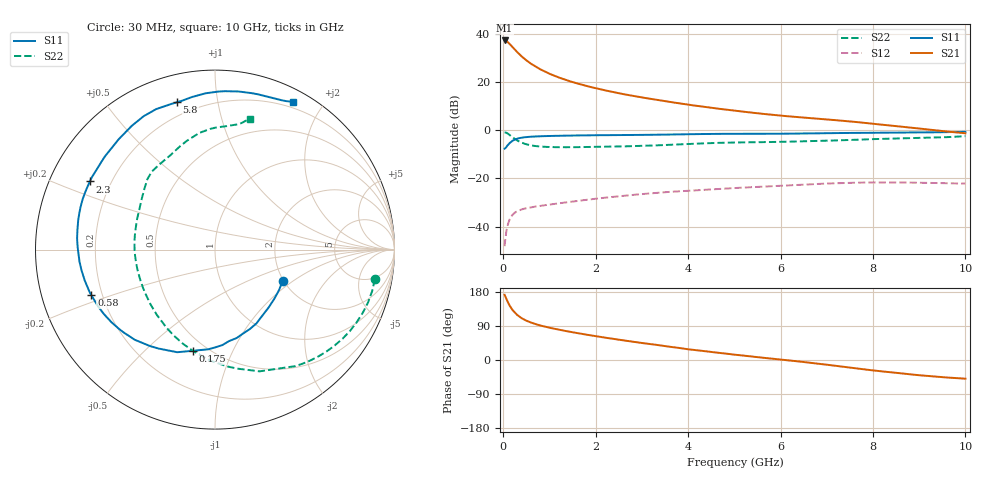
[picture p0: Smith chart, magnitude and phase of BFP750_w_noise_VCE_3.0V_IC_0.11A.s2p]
! Infineon Technologies  Discrete & RF Semiconductors
! BFP750
! VCE =  3.0 V,  IC = 0.11 A
! Common Emitter S-Parameters:  Jan 2016
# GHz  S  MA  R  50
!  f  S11  S21  S12  S22
! GHz  MAG  ANG  MAG  ANG  MAG  ANG  MAG  ANG
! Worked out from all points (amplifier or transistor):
!   229 points, 30 MHz to 10 GHz, reference 50 ohm
!   highest |S21| = 37.4 dB at 30 MHz (marker M1)
!   |S21| within 3 dB of that: start of sweep to 213.8 MHz
!   unconditionally stable (mu >= 1): 2.971 GHz to end of sweep
!   at 280 MHz: K = 0.24, MSG = 33.5 dB, |S12| = -33.9 dB
!   at 1.78 GHz: K = 0.82, MSG = 23.8 dB, |S12| = -29.0 dB
!   at 10 GHz: K = 1.04, MAG = 9.2 dB, |S12| = -22.2 dB
!   lowest NFmin = 1.68 dB at 450 MHz
!   S11 on the Smith chart (normalised r, x): 30 MHz: 1.97, -0.84; 175 MHz: 0.42, -0.71; 580 MHz: 0.16, -0.17; 2.3 GHz: 0.12, +0.25; 5.8 GHz: 0.13, +0.77; 10 GHz: 0.13, +1.65
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0.03  0.4156 -25.1  73.94 171.9  0.0039 77.1  0.9057 -10.5
0.05  0.4299 -40.2  73.36 165.6  0.0059 72.3  0.902 -19.1
0.07  0.4534 -54.7  71.53 160.1  0.0082 69.4  0.8872 -27.2
0.1  0.493 -71.5  68.03 152.5  0.011 63.9  0.8544 -38.7
0.145  0.5503 -91.9  61.79 142.3  0.0144 56.2  0.7941 -54.0
0.175  0.5772 -102.4  57.44 136.9  0.016 52.1  0.749 -62.4
0.2  0.6093 -110.2  54.1 132.1  0.0174 49.0  0.7222 -69.9
0.26  0.6481 -124.0  46.88 123.9  0.0197 43.2  0.655 -83.9
0.34  0.686 -137.4  39.01 115.4  0.0216 38.1  0.5891 -99.2
0.45  0.7157 -149.9  31.24 106.8  0.0234 34.0  0.5313 -115.6
0.58  0.734 -159.7  25.14 99.9  0.0248 31.6  0.4913 -129.5
0.76  0.7494 -169.4  19.6 92.6  0.0265 30.2  0.4639 -143.8
1  0.7619 -178.7  15.01 85.1  0.0286 29.9  0.4498 -157.2
1.3  0.7734 172.7  11.63 77.7  0.0312 30.1  0.4456 -168.8
1.7  0.7847 163.3  8.891 69.0  0.0349 30.2  0.4483 179.8
2.3  0.7938 151.4  6.481 57.3  0.0406 29.1  0.4564 166.5
3.4  0.8123 132.7  4.182 38.4  0.0508 24.0  0.4905 147.2
5.1  0.8478 111.6  2.503 12.9  0.0638 13.7  0.5602 127.9
5.8  0.8478 104.5  2.112 3.7  0.0688 9.0  0.5713 119.7
6.8  0.8665 95.5  1.748 -9.4  0.0766 1.2  0.6014 110.1
8.4  0.8953 76.8  1.253 -32.7  0.0826 -14.6  0.6729 92.3
10  0.9308 62.2  0.869 -49.3  0.078 -26.7  0.7549 75.2
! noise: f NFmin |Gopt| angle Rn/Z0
0.45  1.68  0.37  -170  0.29
0.9  1.71  0.46  -163  0.16
1.5  1.74  0.54  -154  0.1
1.9  1.74  0.56  -148  0.11
2.4  1.72  0.56  -141  0.15
3.5  2.05  0.56  -124  0.21
